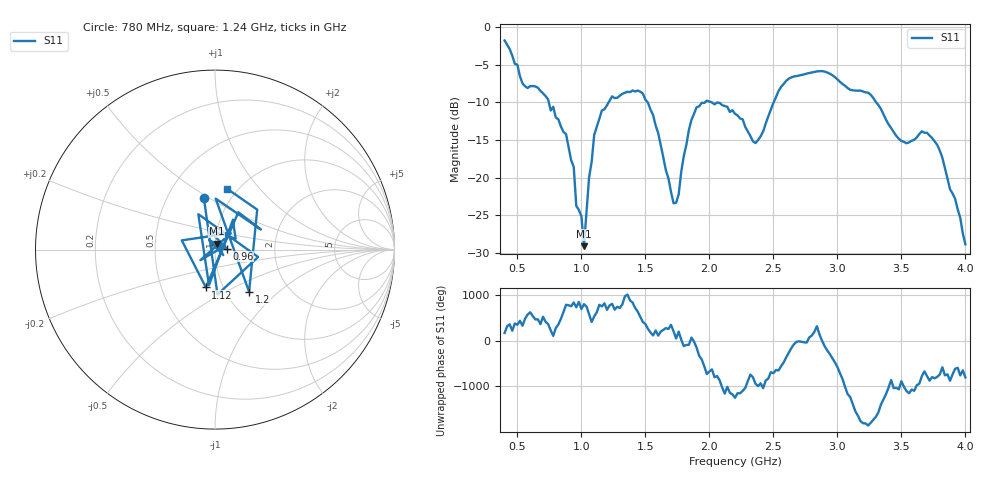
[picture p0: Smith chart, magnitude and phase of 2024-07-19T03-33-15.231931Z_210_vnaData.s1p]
!Created with skrf (http://scikit-rf.org).
# Hz S RI R 50.0
!freq ReS11 ImS11
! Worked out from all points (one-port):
!   181 points, 400 MHz to 4 GHz, reference 50 ohm
!   lowest |S11| = -29.1 dB at 1.02 GHz (marker M1), VSWR 1.07, Z = 51 + j3.41 ohm
!   |S11| at or under -10 dB: 745.2 MHz to 1.213 GHz (467.9 MHz wide, 47.8 % of centre); 2.015 GHz to 2.502 GHz (487.2 MHz wide, 21.6 % of centre); 3.302 GHz to end of sweep (the widest 3 of 4)
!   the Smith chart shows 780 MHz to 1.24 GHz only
!   S11 on the Smith chart (normalised r, x): 780 MHz: 0.75, +0.48; 960 MHz: 1.14, +0.01; 1.12 GHz: 0.83, -0.37; 1.2 GHz: 1.28, -0.66; 1.24 GHz: 0.89, +0.69
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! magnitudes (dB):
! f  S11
! 400 MHz  -1.8
! 540 MHz  -7.5
! 780 MHz  -10.6
! 860 MHz  -13.9
! 940 MHz  -18.6
! 960 MHz  -23.8
! 1 GHz  -25.1
! 1.02 GHz  -29.1
! 1.06 GHz  -20.0
! 1.12 GHz  -13.3
! 1.2 GHz  -10.4
! 1.24 GHz  -9.2
! 1.3 GHz  -9.1
! 1.48 GHz  -8.8
! 1.6 GHz  -14.1
! 1.72 GHz  -23.4
! 1.76 GHz  -22.2
! 1.84 GHz  -13.7
! 1.9 GHz  -10.7
! 2.2 GHz  -11.5
! 2.36 GHz  -15.4
! 2.66 GHz  -6.6
! 3.1 GHz  -8.3
! 3.26 GHz  -9.0
! 3.56 GHz  -15.3
! 3.66 GHz  -13.9
! 3.78 GHz  -15.7
! 4 GHz  -28.9
